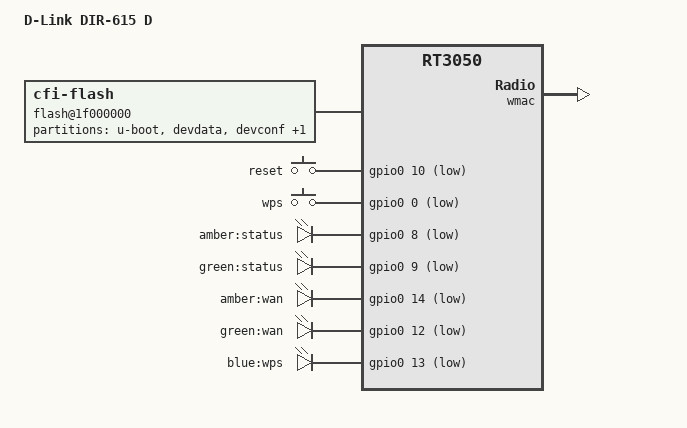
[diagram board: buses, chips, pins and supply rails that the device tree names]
#include "rt3050.dtsi"

#include <dt-bindings/gpio/gpio.h>
#include <dt-bindings/input/input.h>

/ {
	compatible = "dlink,dir-615-d", "ralink,rt3050-soc";
	model = "D-Link DIR-615 D";

	aliases {
		led-boot = &led_status_green;
		led-failsafe = &led_status_green;
		led-running = &led_status_green;
		led-upgrade = &led_status_green;
		label-mac-device = &wmac;
	};

	flash@1f000000 {
		compatible = "cfi-flash";
		reg = <0x1f000000 0x800000>;
		bank-width = <2>;
		device-width = <2>;

		partitions {
			compatible = "fixed-partitions";
			#address-cells = <1>;
			#size-cells = <1>;

			partition@0 {
				label = "u-boot";
				reg = <0x0 0x30000>;
				read-only;
			};

			devdata: partition@30000 {
				label = "devdata";
				reg = <0x30000 0x10000>;
				read-only;
			};

			partition@40000 {
				label = "devconf";
				reg = <0x40000 0x10000>;
				read-only;
			};

			partition@50000 {
				compatible = "denx,uimage";
				label = "firmware";
				reg = <0x50000 0x3b0000>;
			};
		};
	};

	keys {
		compatible = "gpio-keys-polled";
		poll-interval = <20>;

		reset {
			label = "reset";
			gpios = <&gpio0 10 GPIO_ACTIVE_LOW>;
			linux,code = <KEY_RESTART>;
		};

		wps {
			label = "wps";
			gpios = <&gpio0 0 GPIO_ACTIVE_LOW>;
			linux,code = <KEY_WPS_BUTTON>;
		};
	};

	leds {
		compatible = "gpio-leds";

		status_amber {
			label = "amber:status";
			gpios = <&gpio0 8 GPIO_ACTIVE_LOW>;
		};

		led_status_green: status_green {
			label = "green:status";
			gpios = <&gpio0 9 GPIO_ACTIVE_LOW>;
			default-state = "on";
		};

		wan_amber {
			label = "amber:wan";
			gpios = <&gpio0 14 GPIO_ACTIVE_LOW>;
		};

		wan_green {
			label = "green:wan";
			gpios = <&gpio0 12 GPIO_ACTIVE_LOW>;
		};

		wps {
			label = "blue:wps";
			gpios = <&gpio0 13 GPIO_ACTIVE_LOW>;
		};
	};
};

&esw {
	mediatek,portmap = <0x2f>;
};

&wmac {
	ralink,mtd-eeprom = <&devdata 0x4000>;
};

&state_default {
	gpio {
		groups = "i2c", "spi", "jtag", "mdio", "rgmii", "uartf";
		function = "gpio";
	};
};
